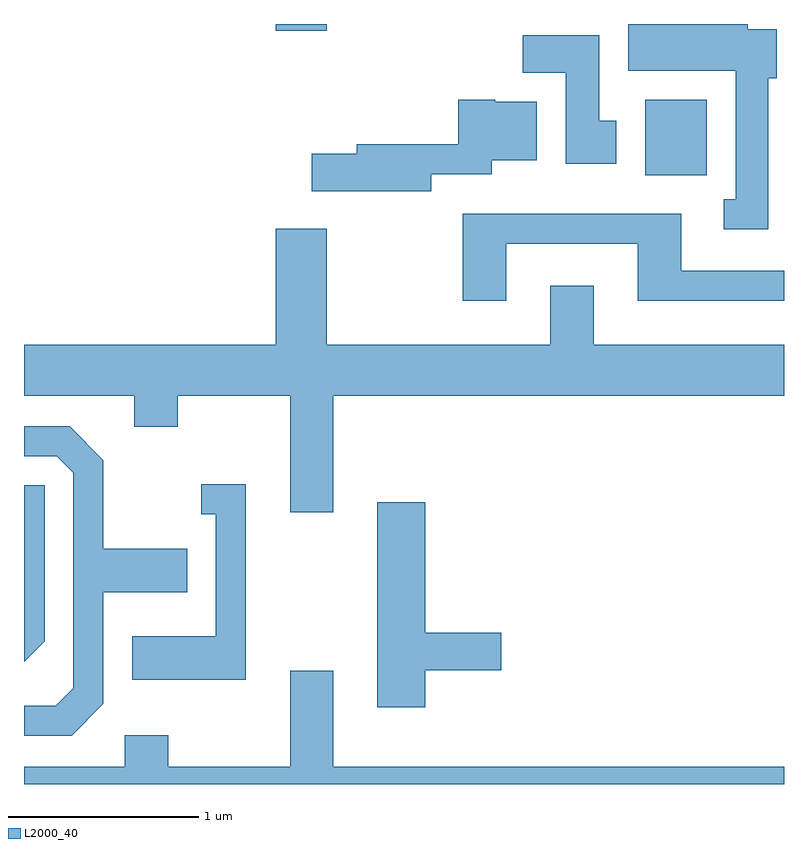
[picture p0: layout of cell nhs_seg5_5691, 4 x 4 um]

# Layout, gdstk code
import gdstk
lib = gdstk.Library(unit=1e-6, precision=1e-09)
def R(c, l, rs):  # rectangles x0, y0, x1, y1
    for r in rs: c.add(gdstk.rectangle(r[:2], r[2:], *l))
def P(c, l, *ps):  # polygons
    for p in ps: c.add(gdstk.Polygon(p, *l))
L2000_40 = (2000, 40)

nhs_seg5_5691 = lib.new_cell('nhs_seg5_5691')
R(nhs_seg5_5691, L2000_40, [(356.881,1471.276,357.204,1471.674), (354.936,1472.036,355.204,1472.072)])
P(nhs_seg5_5691, L2000_40, [(357.529,1471.786),(357.574,1471.786),(357.574,1472.044),(357.419,1472.044),(357.419,1472.072),(356.791,1472.072),(356.791,1471.826),(357.356,1471.826),(357.356,1471.149),(357.293,1471.149),(357.293,1470.991),(357.529,1470.991)],
  [(356.729,1471.564),(356.639,1471.564),(356.639,1472.014),(356.236,1472.014),(356.236,1471.816),(356.461,1471.816),(356.461,1471.336),(356.729,1471.336)],
  [(355.754,1471.281),(356.074,1471.281),(356.074,1471.356),(356.309,1471.356),(356.309,1471.664),(356.09,1471.664),(356.09,1471.674),(355.896,1471.674),(355.896,1471.439),(355.361,1471.439),(355.361,1471.389),(355.126,1471.389),(355.126,1471.191),(355.754,1471.191)],
  [(356.149,1470.916),(356.841,1470.916),(356.841,1470.616),(357.611,1470.616),(357.611,1470.774),(357.069,1470.774),(357.069,1471.074),(355.921,1471.074),(355.921,1470.616),(356.149,1470.616)],
  [(355.239,1470.116),(357.611,1470.116),(357.611,1470.384),(356.609,1470.384),(356.609,1470.694),(356.381,1470.694),(356.381,1470.384),(355.204,1470.384),(355.204,1470.994),(354.936,1470.994),(354.936,1470.384),(353.611,1470.384),(353.611,1470.116),(354.191,1470.116),(354.191,1469.951),(354.419,1469.951),(354.419,1470.116),(355.011,1470.116),(355.011,1469.501),(355.239,1469.501)],
  [(354.029,1468.494),(354.029,1469.081),(354.469,1469.081),(354.469,1469.309),(354.029,1469.309),(354.029,1469.777),(353.852,1469.954),(353.611,1469.954),(353.611,1469.796),(353.784,1469.796),(353.871,1469.709),(353.871,1468.577),(353.779,1468.484),(353.611,1468.484),(353.611,1468.326),(353.862,1468.326)],
  [(354.779,1469.649),(354.543,1469.649),(354.543,1469.491),(354.621,1469.491),(354.621,1468.849),(354.181,1468.849),(354.181,1468.621),(354.779,1468.621)],
  [(353.719,1468.824),(353.719,1469.644),(353.611,1469.644),(353.611,1468.715)],
  [(355.724,1468.671),(356.124,1468.671),(356.124,1468.869),(355.724,1468.869),(355.724,1469.554),(355.471,1469.554),(355.471,1468.476),(355.724,1468.476)],
  [(357.611,1468.164),(355.239,1468.164),(355.239,1468.669),(355.011,1468.669),(355.011,1468.164),(354.369,1468.164),(354.369,1468.329),(354.141,1468.329),(354.141,1468.164),(353.611,1468.164),(353.611,1468.072),(357.611,1468.072)])

lib.write_gds('nhs_seg5_5691.gds')
